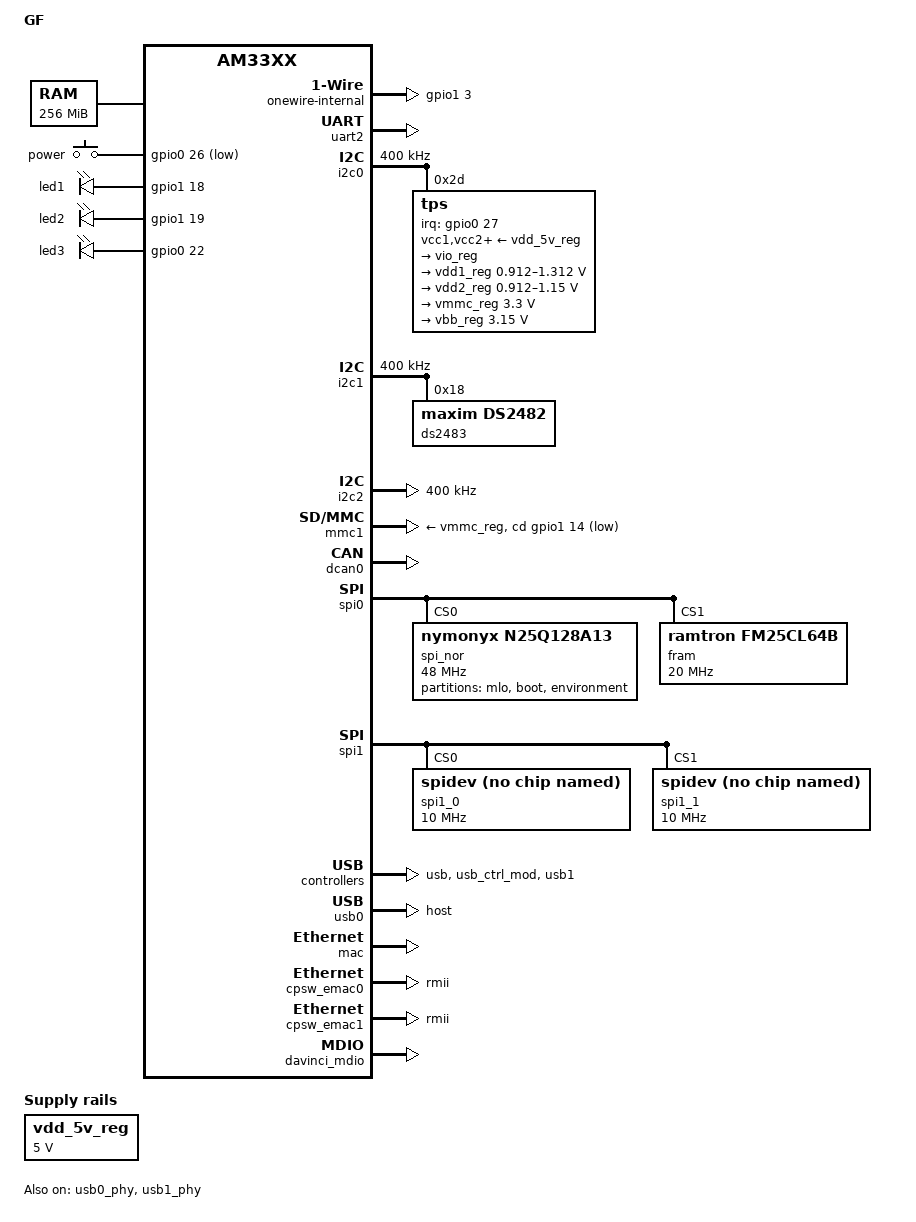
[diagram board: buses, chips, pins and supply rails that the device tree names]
/*
 * Copyright (C) Jan Luebbe <jlu@pengutronix.de>
 *
 * This program is free software; you can redistribute it and/or modify
 * it under the terms of the GNU General Public License version 2 as
 * published by the Free Software Foundation.
 */

/dts-v1/;

#include "am33xx.dtsi"

/ {
	model = "GF";
	compatible = "afi,gf", "ti,am33xx";

	chosen {
		stdout-path = &uart2;

		environment {
			compatible = "barebox,environment";
			device-path = &environment_spi;
		};
	};

	cpus {
		cpu@0 {
			cpu0-supply = <&vdd1_reg>;
		};
	};

	memory {
		device_type = "memory";
		reg = <0x80000000 0x10000000>; /* 128 MB */
	};


	gpio-keys {
		compatible = "gpio-keys";

		power {
			label = "power";
			linux,code = <116>; /* KEY_POWER */
			gpios = <&gpio0 26 1>;
			gpio-key,wakeup;
		};
	};

	leds {
		compatible = "gpio-leds";

		led1 {
			gpios = <&gpio1 18 0>;
			linux,default-trigger = "mmc0";
			default-state = "off";
		};

		led2 {
			gpios = <&gpio1 19 0>;
			linux,default-trigger = "cpu0";
			default-state = "off";
		};

		led3 {
			gpios = <&gpio0 22 0>;
			linux,default-trigger = "heartbeat";
			default-state = "off";
		};
	};

	onewire-internal {
		compatible = "w1-gpio";
		gpios = <&gpio1 3 0>;
	};

	vdd_5v_reg: vdd-5v@0 {
		compatible = "regulator-fixed";
		regulator-name = "vdd-5v";
		regulator-min-microvolt = <5000000>;
		regulator-max-microvolt = <5000000>;
		regulator-boot-on;
	};
};

&uart0 {
	status = "disabled";
	pinctrl-names = "default";
	pinctrl-0 = <&uart0_pins>;
};

&uart2 {
	status = "okay";
	pinctrl-names = "default";
	pinctrl-0 = <&uart2_pins>;
};

&i2c0 {
	status = "okay";
	clock-frequency = <400000>;
	pinctrl-names = "default";
	pinctrl-0 = <&i2c0_pins>;

	tps: tps@2d {
		reg = <0x2d>;
		interrupt-parent = <&gpio0>;
		interrupts = <27 1>;
	};
};

&i2c1 {
	status = "okay";
	clock-frequency = <400000>;
	pinctrl-names = "default";
	pinctrl-0 = <&i2c1_pins>;

	ds2483@18 {
		compatible = "maxim,ds2482";
		reg = <0x18>;
	};
};

&i2c2 {
	status = "okay";
	clock-frequency = <400000>;
	pinctrl-names = "default";
	pinctrl-0 = <&i2c2_pins>;
};

/include/ "tps65910.dtsi"

&tps {
	vcc1-supply = <&vdd_5v_reg>;
	vcc2-supply = <&vdd_5v_reg>;
	vcc3-supply = <&vdd_5v_reg>;
	vcc4-supply = <&vdd_5v_reg>;
	vcc5-supply = <&vdd_5v_reg>;
	vcc6-supply = <&vdd_5v_reg>;
	vcc7-supply = <&vdd_5v_reg>;
	vccio-supply = <&vdd_5v_reg>;

	ti,system-power-controller;

	ti,en-ck32k-xtal;

	regulators {
		vrtc_reg: regulator@0 {
			regulator-always-on;
		};

		vio_reg: regulator@1 {
			/* VDD_DDR supplies LPDDR */
			regulator-name = "vdd_ddr";
			regulator-always-on;
		};

		vdd1_reg: regulator@2 {
			/* VDD_MPU voltage limits 0.95V - 1.26V with +/-4% tolerance */
			regulator-name = "vdd_mpu";
			regulator-min-microvolt = <912500>;
			regulator-max-microvolt = <1312500>;
			regulator-boot-on;
			regulator-always-on;
		};

		vdd2_reg: regulator@3 {
			/* VDD_CORE voltage limits 0.95V - 1.1V with +/-4% tolerance */
			regulator-name = "vdd_core";
			regulator-min-microvolt = <912500>;
			regulator-max-microvolt = <1150000>;
			regulator-boot-on;
			regulator-always-on;
		};

		vdd3_reg: regulator@4 {
			/* VDD_BOOST is not connected */
		};

		vdig1_reg: regulator@5 {
			/* VDD_DIG1 is not connected */
		};

		vdig2_reg: regulator@6 {
			/* VDD_DIG2 supplies some SoC terminals */
			regulator-always-on;
		};

		vpll_reg: regulator@7 {
			/* VDD_PLL is not connected */
		};

		vdac_reg: regulator@8 {
			/* VDD_DAC is not connected */
		};

		vaux1_reg: regulator@9 {
			/* VDD_AUX1 supplies USB */
			regulator-always-on;
		};

		vaux2_reg: regulator@10 {
			/* VDD_AUX2 supplies various ICs */
			regulator-always-on;
		};

		vaux33_reg: regulator@11 {
			/* VDD_AUX33 supplies USB */
			regulator-always-on;
		};

		vmmc_reg: regulator@12 {
			/* VDD_MMC supplies uSD and ethernet phy */
			regulator-min-microvolt = <3300000>;
			regulator-max-microvolt = <3300000>;
			regulator-always-on;
		};

		vbb_reg: regulator@13 {
			/* Backup Battery regulator */
			regulator-min-microvolt = <3150000>;
			regulator-max-microvolt = <3150000>;
			regulator-always-on;
		};
	};
};

&mmc1 {
	vmmc-supply = <&vmmc_reg>;
	cd-gpios = <&gpio1 14 1>;
	status = "okay";
};

&edma {
	ti,edma-xbar-event-map = <32 12>;
};

&dcan0 {
	status = "okay";
	pinctrl-names = "default";
	pinctrl-0 = <&dcan0_pins>;
};

&gpio0 {
	pinctrl-names = "default";
	pinctrl-0 = <&gpio0_pins>;
};

&gpio1 {
	pinctrl-names = "default";
	pinctrl-0 = <&gpio1_pins>;
};

&gpio2 {
	pinctrl-names = "default";
	pinctrl-0 = <&gpio2_pins>;
};

&gpio3 {
	pinctrl-names = "default";
	pinctrl-0 = <&gpio3_pins>;
};

&spi0 {
	status = "okay";
	pinctrl-names = "default";
	pinctrl-0 = <&spi0_pins>;

	/* uncomment for unmodified Fee */
	/* ti,pindir-d0-out-d1-in; */

	spi_nor: nor@0 {
		compatible = "nymonyx,n25q128a13";
		spi-max-frequency = <48000000>; // actually 108 MHz
		reg = <0>;
		#address-cells = <1>;
		#size-cells = <1>;

		partition@0 {
			label = "mlo";
			reg = <0x0 0x20000>;
		};

		partition@20000 {
			label = "boot";
			reg = <0x20000 0x100000>;
		};

		environment_spi: partition@120000 {
			label = "environment";
			reg = <0x120000 0x20000>;
		};
	};

	fram@1 {
		compatible = "ramtron,fm25cl64b", "atmel,at25";
		spi-max-frequency = <20000000>;
		reg = <1>;
		size = <8192>;
		pagesize = <8192>; // FIXME - is this correct?
		address-width = <16>;
	};
};

&spi1 {
	status = "okay";
	pinctrl-names = "default";
	pinctrl-0 = <&spi1_pins>;

	ti,pindir-d0-out-d1-in;

	spi1_0: spidev@0 {
		compatible = "linux,spidev";
		reg = <0>;
		spi-max-frequency = <10000000>; // FIXME
	};

	spi1_1: spidev@1 {
		compatible = "linux,spidev";
		reg = <1>;
		spi-max-frequency = <10000000>; // FIXME
	};
};

&usb {
	status = "okay";
	pinctrl-names = "default";
	pinctrl-0 = <&usb0_pins &usb1_pins>;
};

&usb_ctrl_mod {
	status = "okay";
};

&usb0 {
	dr_mode = "host";
	status = "okay";
};

&usb1 {
	status = "okay";
};

&usb0_phy {
	status = "okay";
};

&usb1_phy {
	status = "okay";
};

&mac {
	pinctrl-names = "default";
	pinctrl-0 = <&eth_pins>;
	status = "okay";
};

&cpsw_emac0 {
	phy_id = <&davinci_mdio>, <0>;
	phy-mode = "rmii";
};

&cpsw_emac1 {
	phy_id = <&davinci_mdio>, <3>;
	phy-mode = "rmii";
};

&davinci_mdio {
	status = "okay";
};

&phy_sel {
	rmii-clock-ext;
};

&am33xx_pinmux {
	dcan0_pins: pinmux_dcan0_pins {
		pinctrl-single,pins = <
			0x11c (PIN_OUTPUT_PULLUP | MUX_MODE1)	/* mii1_txd3.dcan0_tx_mux0, OUTPUT_PULLUP | MODE1 */
			0x120 (PIN_INPUT_PULLUP | MUX_MODE1)	/* mii1_txd2.dcan0_rx_mux0, INPUT_PULLUP | MODE1 */
		>;
	};
	eth_pins: pinmux_eth_pins {
		pinctrl-single,pins = <
			/* RMII2 (mezzanine) */
			0x040 (PIN_OUTPUT_PULLDOWN | MUX_MODE3)	/* gpmc_a0.rmii2_txen, OUTPUT_PULLDOWN | MODE3 */
			0x050 (PIN_INPUT_PULLDOWN | MUX_MODE3)	/* gpmc_a4.rmii2_txd1, INPUT_PULLDOWN | MODE3 */
			0x054 (PIN_INPUT_PULLDOWN | MUX_MODE3)	/* gpmc_a5.rmii2_txd0, INPUT_PULLDOWN | MODE3 */
			0x068 (PIN_INPUT_PULLDOWN | MUX_MODE3)	/* gpmc_a10.rmii2_rxd1, INPUT_PULLDOWN | MODE3 */
			0x06c (PIN_INPUT_PULLDOWN | MUX_MODE3)	/* gpmc_a11.rmii2_rxd0, INPUT_PULLDOWN | MODE3 */
			0x070 (PIN_INPUT_PULLUP | MUX_MODE3)	/* gpmc_wait0.rmii2_crs_dv, INPUT_PULLUP | MODE3 */ /* PHYAD pin */
			0x074 (PIN_INPUT_PULLUP | MUX_MODE3)	/* gpmc_wpn.rmii2_rxer, INPUT_PULLUP | MODE3 */
			0x108 (PIN_INPUT_PULLDOWN | MUX_MODE1)	/* mii1_col.rmii2_refclk, INPUT_PULLDOWN | MODE1 */
			/* RMII1 (board) */
			0x10c (PIN_INPUT_PULLDOWN | MUX_MODE1)	/* mii1_crs.rmii1_crs_dv, INPUT_PULLDOWN | MODE1 */
			0x110 (PIN_INPUT_PULLDOWN | MUX_MODE1)	/* mii1_rx_er.rmii1_rxer, INPUT_PULLDOWN | MODE1 */
			0x114 (PIN_OUTPUT_PULLDOWN | MUX_MODE1)	/* mii1_tx_en.rmii1_txen, OUTPUT_PULLDOWN | MODE1 */
			0x124 (PIN_INPUT_PULLDOWN | MUX_MODE1)	/* mii1_txd1.rmii1_txd1, INPUT_PULLDOWN | MODE1 */
			0x128 (PIN_INPUT_PULLDOWN | MUX_MODE1)	/* mii1_txd0.rmii1_txd0, INPUT_PULLDOWN | MODE1 */
			0x13c (PIN_INPUT_PULLDOWN | MUX_MODE1)	/* mii1_rxd1.rmii1_rxd1, INPUT_PULLDOWN | MODE1 */
			0x140 (PIN_INPUT_PULLDOWN | MUX_MODE1)	/* mii1_rxd0.rmii1_rxd0, INPUT_PULLDOWN | MODE1 */
			0x144 (PIN_INPUT_PULLDOWN | MUX_MODE0)	/* rmii1_ref_clk.rmii1_refclk, INPUT_PULLDOWN | MODE0 */
			/* MDIO (board & mezzanine) */
			0x148 (PIN_INPUT_PULLUP | MUX_MODE0)	/* mdio.mdio_data, INPUT_PULLUP | MODE0 */
			0x14c (PIN_OUTPUT_PULLUP | MUX_MODE0)	/* mdc.mdio_clk, OUTPUT_PULLUP | MODE0 */
		>;
	};
	spi0_pins: pinmux_spi0_pins { /* SPI NOR-Flash & FRAM */
		pinctrl-single,pins = <
			0x150 (PIN_INPUT_PULLUP | MUX_MODE0)	/* spi0_sclk, INPUT_PULLUP | MODE0 */
			0x154 (PIN_INPUT_PULLUP | MUX_MODE0)	/* spi0_d0, INPUT_PULLUP | MODE0 */
			0x158 (PIN_INPUT_PULLUP | MUX_MODE0)	/* spi0_d1, INPUT_PULLUP | MODE0 */
			0x15c (PIN_OUTPUT_PULLUP | MUX_MODE0)	/* spi0_cs0, OUTPUT_PULLUP | MODE0 */
			0x160 (PIN_OUTPUT_PULLUP | MUX_MODE0)	/* spi0_cs1, OUTPUT_PULLUP | MODE0 */
		>;
	};
	spi1_pins: pinmux_spi1_pins { /* SPI (mezzanine) */
		pinctrl-single,pins = <
			0x170 (PIN_OUTPUT_PULLUP | MUX_MODE1)	/* uart0_rxd.spi1_cs0_mux3, OUTPUT_PULLUP | MODE1 */
			0x174 (PIN_OUTPUT_PULLUP | MUX_MODE1)	/* uart0_txd.spi1_cs1_mux3, OUTPUT_PULLUP | MODE1 */
			0x190 (PIN_INPUT_PULLUP | MUX_MODE3)	/* mcasp0_aclkx.spi1_sclk_mux2, INPUT_PULLUP | MODE3 */
			0x194 (PIN_INPUT_PULLUP | MUX_MODE3)	/* mcasp0_fsx.spi1_d0_mux2, INPUT_PULLUP | MODE3 */
			0x198 (PIN_INPUT_PULLUP | MUX_MODE3)	/* mcasp0_axr0.spi1_d1_mux2, INPUT_PULLUP | MODE3 */
		>;
	};
	usb0_pins: pinmux_usb0_pins { /* USB-HOST (mezzanine) */
		pinctrl-single,pins = <
			0x208 (PIN_INPUT | MUX_MODE0)	/* usb0_dm, INPUT | MODE0 */
			0x20c (PIN_INPUT | MUX_MODE0)	/* usb0_dp, INPUT | MODE0 */
			0x210 (PIN_INPUT | MUX_MODE0)	/* usb0_ce, INPUT | MODE0 */
			0x214 (PIN_INPUT | MUX_MODE0)	/* usb0_id, INPUT | MODE0 */
			0x218 (PIN_INPUT | MUX_MODE0)	/* usb0_vbus, INPUT | MODE0 */
			0x21c (PIN_OUTPUT_PULLDOWN | MUX_MODE0)	/* usb0_drvvbus, OUTPUT_PULLDOWN | MODE0 */
		>;
	};
	usb1_pins: pinmux_usb1_pins { /* USB-OTG (front) */
		pinctrl-single,pins = <
			0x220 (PIN_INPUT | MUX_MODE0)	/* usb1_dm, INPUT | MODE0 */
			0x224 (PIN_INPUT | MUX_MODE0)	/* usb1_dp, INPUT | MODE0 */
			0x228 (PIN_INPUT | MUX_MODE0)	/* usb1_ce, INPUT | MODE0 */
			0x22c (PIN_INPUT | MUX_MODE0)	/* usb1_id, INPUT | MODE0 */
			0x230 (PIN_INPUT | MUX_MODE0)	/* usb1_vbus, INPUT | MODE0 */
			0x234 (PIN_OUTPUT_PULLDOWN | MUX_MODE0)	/* usb1_drvvbus, OUTPUT_PULLDOWN | MODE0 */
		>;
	};
	uart0_pins: pinmux_uart0_pins { /* debug, later spi1 CS1/2 */
		pinctrl-single,pins = <
			0x170 (PIN_INPUT_PULLUP | MUX_MODE0)	/* uart0_rxd */
			0x174 (PIN_OUTPUT_PULLDOWN | MUX_MODE0)	/* uart0_txd */
		>;
	};
	uart1_pins: pinmux_uart1_pins { /* UART1 (PRU) */
		pinctrl-single,pins = <
			0x180 (PIN_INPUT | MUX_MODE5)	/* uart1_rxd.pr1_uart0_rxd_mux1, INPUT | MODE5 (RS485_RXD)*/
			0x184 (PIN_OUTPUT | MUX_MODE5)	/* uart1_txd.pr1_uart0_txd_mux1, OUTPUT | MODE5 (RS485_TXD) */
		>;
	};
	uart2_pins: pinmux_uart2_pins { /* UART2 (console) */
		pinctrl-single,pins = <
			0x12c (PIN_INPUT_PULLDOWN | MUX_MODE1)	/* mii1_tx_clk.uart2_rxd_mux0, INPUT_PULLDOWN | MODE1 (UART2_RXD) */
			0x130 (PIN_OUTPUT_PULLDOWN | MUX_MODE1)	/* mii1_rx_clk.uart2_txd_mux0, OUTPUT_PULLDOWN | MODE1 (UART2_TXD) */
		>;
	};
	i2c0_pins: pinmux_i2c0_pins {
		pinctrl-single,pins = <
			0x188 (PIN_INPUT_PULLUP | MUX_MODE0)	/* i2c0_sda, SLEWCTRL_SLOW | INPUT_PULLUP | MODE0 */
			0x18c (PIN_INPUT_PULLUP | MUX_MODE0)	/* i2c0_scl, SLEWCTRL_SLOW | INPUT_PULLUP | MODE0 */
		>;
	};
	i2c1_pins: pinmux_i2c1_pins { /* 1-wire */
		pinctrl-single,pins = <
			0x168 (PIN_INPUT_PULLUP | MUX_MODE3)	/* uart0_ctsn.i2c1_sda_mux1, SLEWCTRL_SLOW | INPUT_PULLUP | MODE3 */
			0x16c (PIN_INPUT_PULLUP | MUX_MODE3)	/* uart0_rtsn.i2c1_scl_mux1, SLEWCTRL_SLOW | INPUT_PULLUP | MODE3 */
		>;
	};
	i2c2_pins: pinmux_i2c2_pins { /* (mezzanine) */
		pinctrl-single,pins = <
			0x178 (PIN_INPUT_PULLUP | MUX_MODE3)	/* uart1_ctsn.i2c2_sda_mux0, SLEWCTRL_SLOW | INPUT_PULLUP | MODE3 */
			0x17c (PIN_INPUT_PULLUP | MUX_MODE3)	/* uart1_rtsn.i2c2_scl_mux0, SLEWCTRL_SLOW | INPUT_PULLUP | MODE3 */
		>;
	};
	gpio0_pins: pinmux_gpio0_pins {
		pinctrl-single,pins = <
			0x020 (PIN_OUTPUT_PULLDOWN | MUX_MODE7)	/* gpmc_ad8.gpio0[22], OUTPUT_PULLDOWN | MODE7 (LED3) */ /* PWM later */
			0x024 (PIN_INPUT_PULLDOWN | MUX_MODE7)	/* gpmc_ad9.gpio0[23], INPUT_PULLDOWN | MODE7 (RMII2_INTRP) */
			0x028 (PIN_INPUT_PULLUP | MUX_MODE7)	/* gpmc_ad10.gpio0[26], INPUT_PULLUP | MODE7 (BUTTON0) */
			0x02c (PIN_INPUT_PULLDOWN | MUX_MODE7)	/* gpmc_ad11.gpio0[27], INPUT_PULLDOWN | MODE7 (PWR_INT)*/
			0x0d0 (PIN_INPUT | MUX_MODE7)	/* lcd_data12.gpio0[8], INPUT | MODE7 (SYSBOOT12) */
			0x0d4 (PIN_INPUT | MUX_MODE7)	/* lcd_data13.gpio0[9], INPUT | MODE7 (SYSBOOT13) */
			0x0d8 (PIN_INPUT | MUX_MODE7)	/* lcd_data14.gpio0[10], INPUT | MODE7 (SYSBOOT14) */
			0x0dc (PIN_INPUT | MUX_MODE7)	/* lcd_data15.gpio0[11], INPUT | MODE7 (SYSBOOT15) */
			0x164 (PIN_INPUT_PULLDOWN | MUX_MODE7)	/* ecap0_in_pwm0_out.gpio0[7], INPUT_PULLDOWN | MODE7 (MEZZANINE_GPIO0) */
			0x1b4 (PIN_INPUT_PULLDOWN | MUX_MODE7)	/* xdma_event_intr1.gpio0[20], INPUT_PULLDOWN | MODE7 (MEZZANINE_GPIO3) */
		>;
	};
	gpio1_pins: pinmux_gpio1_pins {
		pinctrl-single,pins = <
			0x000 (PIN_OUTPUT_PULLDOWN | MUX_MODE7)	/* gpmc_ad0.gpio1[0], OUTPUT_PULLDOWN | MODE7 (NC) */
			0x004 (PIN_OUTPUT_PULLDOWN | MUX_MODE7)	/* gpmc_ad1.gpio1[1], OUTPUT_PULLDOWN | MODE7 (NC) */
			0x008 (PIN_INPUT | MUX_MODE7)	/* gpmc_ad2.gpio1[2], INPUT | MODE7 (BOARD_REV1) */
			0x00c (PIN_INPUT_PULLUP | MUX_MODE7)	/* gpmc_ad3.gpio1[3], INPUT_PULLUP | MODE7 (1WIRE_INT) */
			0x010 (PIN_OUTPUT_PULLDOWN | MUX_MODE7)	/* gpmc_ad4.gpio1[4], OUTPUT_PULLDOWN | MODE7 (NC) */
			0x014 (PIN_OUTPUT_PULLDOWN | MUX_MODE7)	/* gpmc_ad5.gpio1[5], OUTPUT_PULLDOWN | MODE7 (NC) */
			0x018 (PIN_INPUT | MUX_MODE7)	/* gpmc_ad6.gpio1[6], INPUT | MODE7 (BOARD_REV0) */
			0x01c (PIN_OUTPUT_PULLDOWN | MUX_MODE7)	/* gpmc_ad7.gpio1[7], OUTPUT_PULLDOWN | MODE7 (NC) */
			0x030 (PIN_INPUT_PULLUP | MUX_MODE7)	/* gpmc_ad12.gpio1[12], INPUT_PULLUP | MODE7 (PG_24V) */
			0x034 (PIN_OUTPUT_PULLDOWN | MUX_MODE7)	/* gpmc_ad13.gpio1[13], OUTPUT_PULLDOWN | MODE7 (NC) */
			0x038 (PIN_INPUT_PULLUP | MUX_MODE7)	/* gpmc_ad14.gpio1[14], INPUT_PULLUP | MODE7 (SDCARD_CD) */
			0x03c (PIN_OUTPUT_PULLDOWN | MUX_MODE7)	/* gpmc_ad15.gpio1[15], OUTPUT_PULLDOWN | MODE7 (NC) */
			0x044 (PIN_OUTPUT_PULLDOWN | MUX_MODE7)	/* gpmc_a1.gpio1[17], OUTPUT_PULLDOWN | MODE7 (NC) */
			0x048 (PIN_OUTPUT_PULLDOWN | MUX_MODE7)	/* gpmc_a2.gpio1[18], OUTPUT_PULLDOWN | MODE7 (LED1) */ /* PWM later */
			0x04c (PIN_OUTPUT_PULLDOWN | MUX_MODE7)	/* gpmc_a3.gpio1[19], OUTPUT_PULLDOWN | MODE7 (LED2) */ /* PWM later */
			0x058 (PIN_OUTPUT_PULLDOWN | MUX_MODE7)	/* gpmc_a6.gpio1[22], OUTPUT_PULLDOWN | MODE7 (NC) */
			0x05c (PIN_OUTPUT_PULLDOWN | MUX_MODE7)	/* gpmc_a7.gpio1[23], OUTPUT_PULLDOWN | MODE7 (NC) */
			0x060 (PIN_OUTPUT_PULLDOWN | MUX_MODE7)	/* gpmc_a8.gpio1[24], OUTPUT_PULLDOWN | MODE7 (NC) */
			0x064 (PIN_OUTPUT_PULLDOWN | MUX_MODE7)	/* gpmc_a9.gpio1[25], OUTPUT_PULLDOWN | MODE7 (NC) */
			0x078 (PIN_INPUT_PULLUP | MUX_MODE7)	/* gpmc_ben1.gpio1[28], INPUT_PULLUP | MODE7 (USB1_OCn) */
			0x07c (PIN_OUTPUT_PULLDOWN | MUX_MODE7)	/* gpmc_csn0.gpio1[29], OUTPUT_PULLDOWN | MODE7 (NC) */
			0x080 (PIN_OUTPUT_PULLDOWN | MUX_MODE7)	/* gpmc_csn1.gpio1[30], OUTPUT_PULLDOWN | MODE7 (NC) */
			0x084 (PIN_OUTPUT_PULLDOWN | MUX_MODE7)	/* gpmc_csn2.gpio1[31], OUTPUT_PULLDOWN | MODE7 (NC) */
		>;
	};
	gpio2_pins: pinmux_gpio2_pins {
		pinctrl-single,pins = <
			0x088 (PIN_OUTPUT_PULLDOWN | MUX_MODE7)	/* gpmc_csn3.gpio2[0], OUTPUT_PULLDOWN | MODE7 (NC) */
			0x08c (PIN_OUTPUT_PULLDOWN | MUX_MODE7)	/* gpmc_clk.gpio2[1], OUTPUT_PULLDOWN | MODE7 (NC) */
			0x090 (PIN_INPUT | MUX_MODE7)	/* gpmc_advn_ale.gpio2[2], INPUT | MODE7 (BOARD_REV2) */
			0x094 (PIN_OUTPUT_PULLDOWN | MUX_MODE7)	/* gpmc_oen_ren.gpio2[3], OUTPUT_PULLDOWN | MODE7 (NC) */
			0x098 (PIN_OUTPUT_PULLDOWN | MUX_MODE7)	/* gpmc_wen.gpio2[4], OUTPUT_PULLDOWN | MODE7 (NC) */
			0x09c (PIN_OUTPUT_PULLDOWN | MUX_MODE7)	/* gpmc_ben0_cle.gpio2[5], OUTPUT_PULLDOWN | MODE7 (NC) */
			0x0a0 (PIN_INPUT | MUX_MODE7)	/* lcd_data0.gpio2[6], INPUT | MODE7 (SYSBOOT0) */
			0x0a4 (PIN_INPUT | MUX_MODE7)	/* lcd_data1.gpio2[7], INPUT | MODE7 (SYSBOOT1) */
			0x0a8 (PIN_INPUT | MUX_MODE7)	/* lcd_data2.gpio2[8], INPUT | MODE7 (SYSBOOT2) */
			0x0ac (PIN_INPUT | MUX_MODE7)	/* lcd_data3.gpio2[9], INPUT | MODE7 (SYSBOOT3) */
			0x0b0 (PIN_INPUT | MUX_MODE7)	/* lcd_data4.gpio2[10], INPUT | MODE7 (SYSBOOT4) */
			0x0b4 (PIN_INPUT | MUX_MODE7)	/* lcd_data5.gpio2[11], INPUT | MODE7 (SYSBOOT5) */
			0x0b8 (PIN_INPUT | MUX_MODE7)	/* lcd_data6.gpio2[12], INPUT | MODE7 (SYSBOOT6) */
			0x0bc (PIN_INPUT | MUX_MODE7)	/* lcd_data7.gpio2[13], INPUT | MODE7 (SYSBOOT7) */
			0x0c0 (PIN_INPUT | MUX_MODE7)	/* lcd_data8.gpio2[14], INPUT | MODE7 (SYSBOOT8) */
			0x0c4 (PIN_INPUT | MUX_MODE7)	/* lcd_data9.gpio2[15], INPUT | MODE7 (SYSBOOT9) */
			0x0c8 (PIN_INPUT | MUX_MODE7)	/* lcd_data10.gpio2[16], INPUT | MODE7 (SYSBOOT10) */
			0x0cc (PIN_INPUT | MUX_MODE7)	/* lcd_data11.gpio2[17], INPUT | MODE7 (SYSBOOT11) */
			0x0e0 (PIN_INPUT | MUX_MODE7)	/* lcd_vsync.gpio2[22], INPUT | MODE7 (BOARD_CONF1) */
			0x0e4 (PIN_OUTPUT_PULLDOWN | MUX_MODE7)	/* lcd_hsync.gpio2[23], OUTPUT_PULLDOWN | MODE7 (NC) */
			0x0e8 (PIN_INPUT | MUX_MODE7)	/* lcd_pclk.gpio2[24], INPUT | MODE7 (BOARD_CONF0) */
			0x0ec (PIN_OUTPUT_PULLDOWN | MUX_MODE7)	/* lcd_ac_bias_en.gpio2[25], OUTPUT_PULLDOWN | MODE7 (NC) */
			0x134 (PIN_OUTPUT_PULLDOWN | MUX_MODE7)	/* mii1_rxd3.gpio2[18], OUTPUT_PULLDOWN | MODE7 (NC) */
			0x138 (PIN_OUTPUT_PULLDOWN | MUX_MODE7)	/* mii1_rxd2.gpio2[19], OUTPUT_PULLDOWN | MODE7 (NC) */
		>;
	};
	gpio3_pins: pinmux_gpio3_pins {
		pinctrl-single,pins = <
			0x118 (PIN_OUTPUT_PULLDOWN | MUX_MODE7)	/* mii1_rx_dv.gpio3[4], OUTPUT_PULLDOWN | MODE7 (NC) */
			0x19c (PIN_INPUT_PULLDOWN | MUX_MODE7)	/* mcasp0_ahclkr.gpio3[17], INPUT_PULLDOWN | MODE7 (MEZZANINE_GPIO1) */
			0x1a0 (PIN_OUTPUT_PULLUP | MUX_MODE7)	/* mcasp0_aclkr.gpio3[18], OUTPUT_PULLUP | MODE7 (DCAN0_LBK) */ /* enable loopback by default */
			0x1a4 (PIN_OUTPUT_PULLDOWN | MUX_MODE7)	/* mcasp0_fsr.gpio3[19], OUTPUT_PULLDOWN | MODE7 (RS485_DE) */
			0x1a8 (PIN_OUTPUT_PULLUP | MUX_MODE7)	/* mcasp0_axr1.gpio3[20], OUTPUT_PULLUP | MODE7 (1WIRE_SLEEP) */
			0x1ac (PIN_INPUT_PULLDOWN | MUX_MODE7)	/* mcasp0_ahclkx.gpio3[21], INPUT_PULLDOWN | MODE7 (MEZZANINE_GPIO2) */
		>;
	};
};
